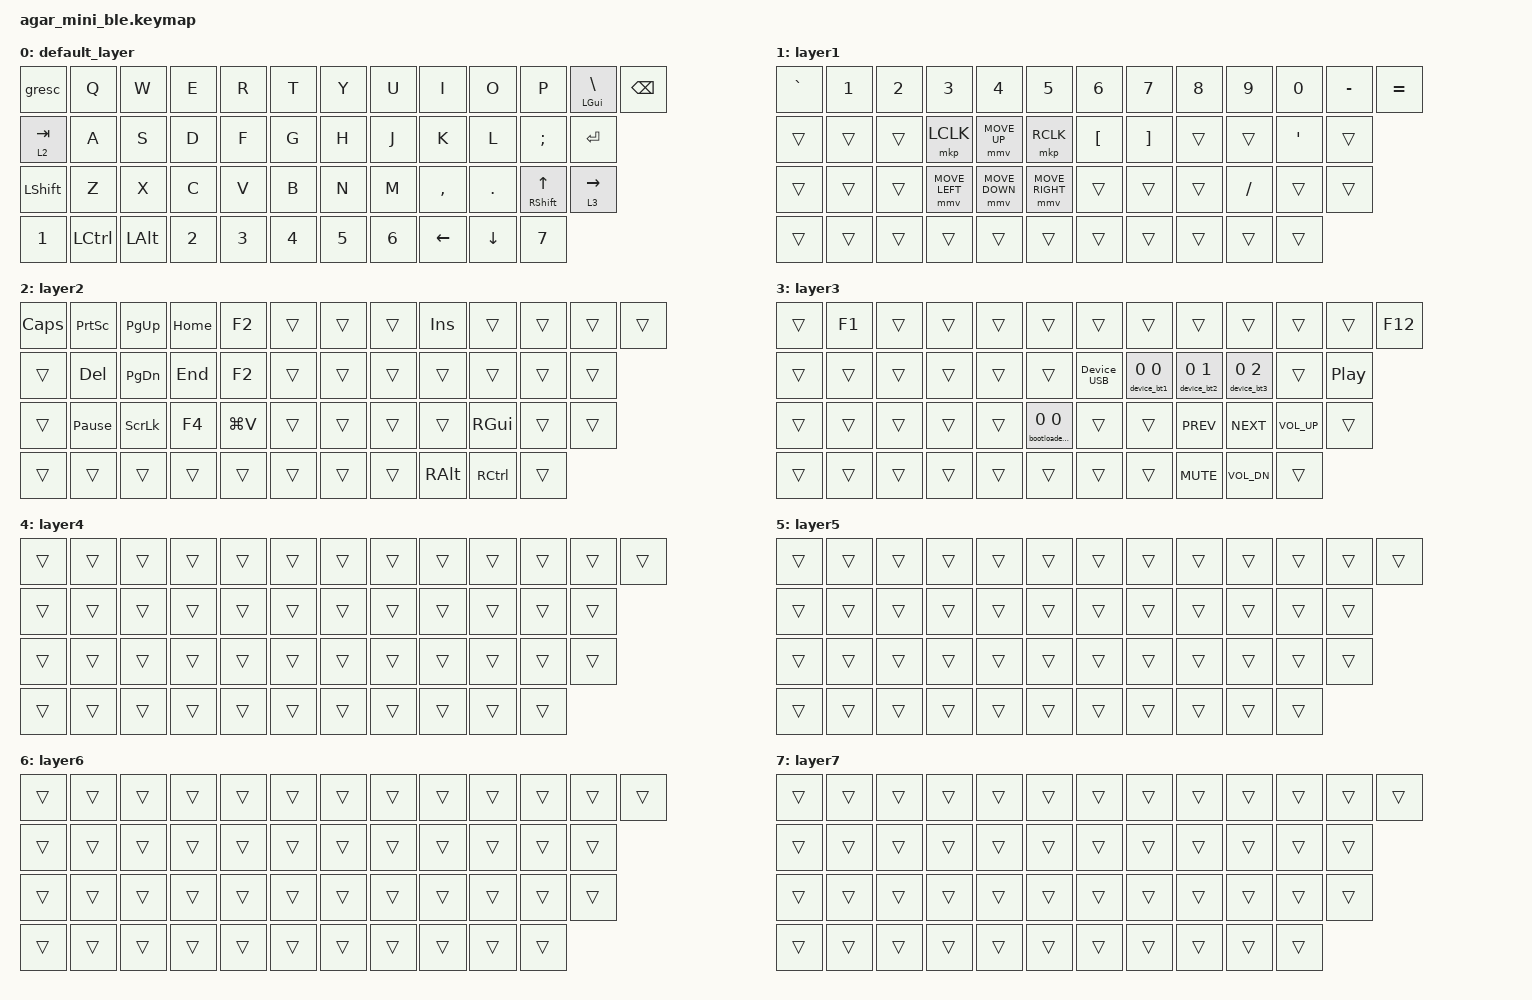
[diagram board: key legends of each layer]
/*
 * Copyright (c) 2021 The ZMK Contributors
 *
 * SPDX-License-Identifier: MIT
 */

#include "./boards/shields/klink_kbd/common.keymap"
#include <behaviors.dtsi>
#include <dt-bindings/zmk/keys.h>
#include <dt-bindings/zmk/pointing.h>

/*
 * TEST BUILD: the bottom row lists every matrix position of row 3, in this order:
 *   (3,0) (3,1) (3,2) (3,3) (3,4) (3,5) (3,6) (3,8) (3,9) (3,10) (3,11)
 * Unknown positions type a number on the base layer, so pressing each space
 * switch shows which position it is wired to:
 *   1=(3,0) 2=(3,3) 3=(3,4) 4=(3,5) 5=(3,6) 6=(3,8) 7=(3,11)
 */

/ {
    keymap {
        compatible = "zmk,keymap";

        default_layer {
            bindings = <
&gresc     &kp Q      &kp W     &kp E  &kp R        &kp T  &kp Y      &kp U  &kp I      &kp O           &kp P                &mt LGUI BACKSLASH  &kp BSPC
&lt 2 TAB  &kp A      &kp S     &kp D  &kp F        &kp G  &kp H      &kp J  &kp K      &kp L           &kp SEMI             &kp RET
&kp LSHFT  &kp Z      &kp X     &kp C  &kp V        &kp B  &kp N      &kp M  &kp COMMA  &kp DOT         &mt RSHIFT UP_ARROW  &lt 3 RIGHT_ARROW
&kp N1  &kp LCTRL  &kp LALT  &kp N2  &kp N3  &kp N4  &kp N5  &kp N6  &kp LEFT_ARROW  &kp DOWN_ARROW  &kp N7
            >;
        };

        layer1 {
            bindings = <
&kp GRAVE  &kp N1  &kp N2  &kp N3          &kp N4          &kp N5           &kp N6            &kp N7             &kp N8  &kp N9     &kp N0            &kp MINUS  &kp EQUAL
&trans     &trans  &trans  &mkp LCLK       &mmv MOVE_UP    &mkp RCLK        &kp LEFT_BRACKET  &kp RIGHT_BRACKET  &trans  &trans     &kp SINGLE_QUOTE  &trans
&trans     &trans  &trans  &mmv MOVE_LEFT  &mmv MOVE_DOWN  &mmv MOVE_RIGHT  &trans            &trans             &trans  &kp SLASH  &trans            &trans
&trans  &trans  &trans  &trans  &trans  &trans  &trans  &trans  &trans  &trans  &trans
            >;
        };

        layer2 {
            bindings = <
&kp CAPSLOCK  &kp PRINTSCREEN  &kp PAGE_UP     &kp HOME  &kp F2     &trans  &trans  &trans  &kp INSERT  &trans    &trans     &trans  &trans
&trans        &kp DELETE       &kp PAGE_DOWN   &kp END   &kp F2     &trans  &trans  &trans  &trans      &trans    &trans     &trans
&trans        &kp PAUSE_BREAK  &kp SCROLLLOCK  &kp F4    &kp LG(V)  &trans  &trans  &trans  &trans      &kp RGUI  &trans     &trans
&trans  &trans  &trans  &trans  &trans  &trans  &trans  &trans  &kp RALT  &kp RCTRL  &trans
            >;
        };

        layer3 {
            bindings = <
&trans  &kp F1  &trans  &trans  &trans  &trans  &trans  &trans  &trans      &trans      &trans        &trans            &kp F12
&trans  &trans  &trans  &trans  &trans  &trans                 &Device_USB  &device_bt1 0 0  &device_bt2 0 1  &device_bt3 0 2  &trans        &kp C_PLAY_PAUSE
&trans  &trans  &trans  &trans  &trans  &bootloader_reset 0 0  &trans       &trans           &kp C_PREV       &kp C_NEXT       &kp C_VOL_UP  &trans
&trans  &trans  &trans  &trans  &trans  &trans  &trans  &trans  &kp C_MUTE  &kp C_VOL_DN  &trans
            >;
        };

        layer4 {
            bindings = <
&trans  &trans  &trans  &trans  &trans  &trans  &trans  &trans  &trans  &trans  &trans  &trans  &trans
&trans  &trans  &trans  &trans  &trans  &trans  &trans  &trans  &trans  &trans  &trans  &trans
&trans  &trans  &trans  &trans  &trans  &trans  &trans  &trans  &trans  &trans  &trans  &trans
&trans  &trans  &trans  &trans  &trans  &trans  &trans  &trans  &trans  &trans  &trans
            >;
        };

        layer5 {
            bindings = <
&trans  &trans  &trans  &trans  &trans  &trans  &trans  &trans  &trans  &trans  &trans  &trans  &trans
&trans  &trans  &trans  &trans  &trans  &trans  &trans  &trans  &trans  &trans  &trans  &trans
&trans  &trans  &trans  &trans  &trans  &trans  &trans  &trans  &trans  &trans  &trans  &trans
&trans  &trans  &trans  &trans  &trans  &trans  &trans  &trans  &trans  &trans  &trans
            >;
        };

        layer6 {
            bindings = <
&trans  &trans  &trans  &trans  &trans  &trans  &trans  &trans  &trans  &trans  &trans  &trans  &trans
&trans  &trans  &trans  &trans  &trans  &trans  &trans  &trans  &trans  &trans  &trans  &trans
&trans  &trans  &trans  &trans  &trans  &trans  &trans  &trans  &trans  &trans  &trans  &trans
&trans  &trans  &trans  &trans  &trans  &trans  &trans  &trans  &trans  &trans  &trans
            >;
        };

        layer7 {
            bindings = <
&trans  &trans  &trans  &trans  &trans  &trans  &trans  &trans  &trans  &trans  &trans  &trans  &trans
&trans  &trans  &trans  &trans  &trans  &trans  &trans  &trans  &trans  &trans  &trans  &trans
&trans  &trans  &trans  &trans  &trans  &trans  &trans  &trans  &trans  &trans  &trans  &trans
&trans  &trans  &trans  &trans  &trans  &trans  &trans  &trans  &trans  &trans  &trans
            >;
        };
    };
};
